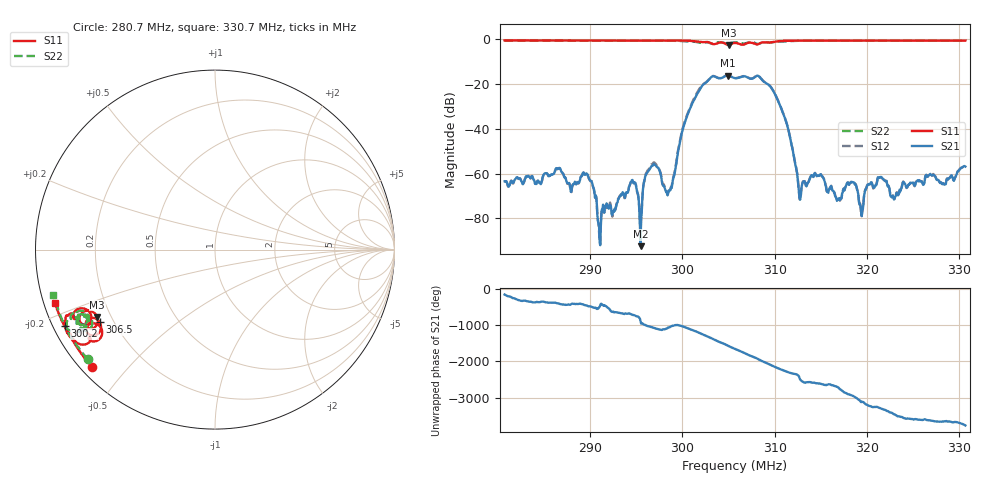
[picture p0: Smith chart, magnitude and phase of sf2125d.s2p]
!HP8753
# HZ S RI R 50
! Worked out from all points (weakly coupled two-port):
!   801 points, 280.7 MHz to 330.7 MHz, reference 50 ohm
!   highest |S21| = -16.14 dB at 304.9 MHz (marker M1); lowest = -92.4 dB at 295.4 MHz (marker M2)
!   lowest |S11| = -2.4 dB at 305 MHz (marker M3), VSWR 7.18, Z = 7.44 - j13 ohm
!   |S11| at or under -10 dB: nowhere
!   |S22| runs from -2.0 to -0.5 dB; largest |S21 - S12| = 0.0067
!   S11 on the Smith chart (normalised r, x): 280.7 MHz: 0.03, -0.40; 300.2 MHz: 0.03, -0.24; 306.5 MHz: 0.15, -0.28; 330.7 MHz: 0.03, -0.16
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2.807e8  -0.6842 -0.6541  -0.00057 -0.000363  -0.00056 -0.000352  -0.7095 -0.6083
2.89075e8  -0.7374 -0.5898  0.000543 -0.000689  0.000569 -0.000688  -0.7572 -0.5494
2.910125e8  -0.7491 -0.5732  -1.77e-05 -2.3e-05  -2.77e-05 -1.42e-05  -0.7694 -0.5353
2.94575e8  -0.7723 -0.5398  0.000706 0.000167  0.000701 0.000158  -0.7924 -0.5018
2.9545e8  -0.7781 -0.5298  -2.38e-05 -3.5e-06  -4.49e-05 1.54e-05  -0.7986 -0.4928
2.962e8  -0.8029 -0.4892  0.000529 0.000934  0.000541 0.00104  -0.8059 -0.483
2.973875e8  -0.8066 -0.4862  0.00118 -0.000624  0.00127 -0.000599  -0.8154 -0.4656
2.986375e8  -0.8195 -0.4672  0.000361 0.000215  0.000352 0.000249  -0.826 -0.4381
3.002e8  -0.8368 -0.4243  0.0106 0.00713  0.0111 0.00804  -0.8176 -0.3883
3.022e8  -0.7794 -0.3815  -0.0946 -0.0133  -0.097 -0.0148  -0.7598 -0.3798
3.048875e8  -0.6725 -0.3527  -0.0729 -0.1378  -0.0728 -0.1395  -0.712 -0.3834
3.050125e8  -0.6559 -0.3752  -0.1067 -0.111  -0.1069 -0.1125  -0.7115 -0.3983
3.057e8  -0.7145 -0.4276  -0.1154 0.0722  -0.1173 0.0718  -0.7571 -0.4099
3.065125e8  -0.6434 -0.4028  0.0782 0.1259  0.0779 0.1278  -0.7207 -0.3761
3.10075e8  -0.7184 -0.5267  0.0578 0.00277  0.0583 0.00337  -0.7513 -0.4601
3.127625e8  -0.8037 -0.4825  0.000239 0.000104  0.000239 9.45e-05  -0.8203 -0.4437
3.14075e8  -0.8175 -0.462  0.000403 -0.000823  0.000425 -0.000842  -0.8398 -0.4178
3.1695e8  -0.8368 -0.4301  -0.000243 0.000133  -0.000246 0.00012  -0.8567 -0.379
3.18575e8  -0.8455 -0.412  6.08e-05 -0.000638  6.14e-05 -0.000655  -0.8639 -0.3617
3.193875e8  -0.8495 -0.4042  -5.46e-05 0.000127  -7.12e-05 0.000101  -0.8662 -0.3531
3.223875e8  -0.8623 -0.3746  -0.000445 -0.000249  -0.000463 -0.000242  -0.8756 -0.3258
3.307e8  -0.8914 -0.2979  -0.00143 -0.000204  -0.00147 -0.000194  -0.8999 -0.2513
